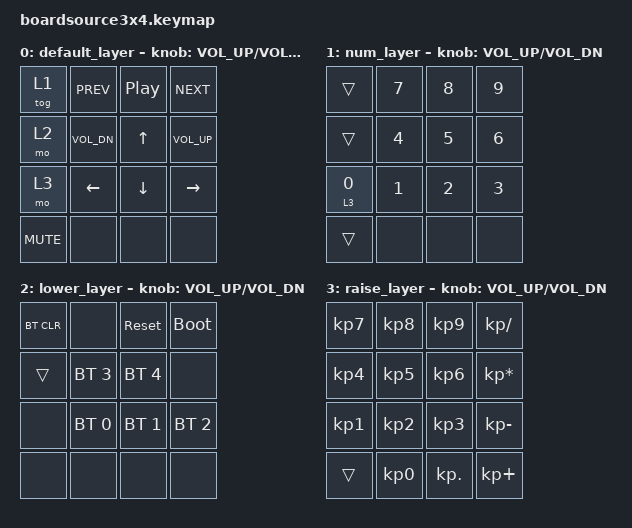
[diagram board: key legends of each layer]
/*
 * Copyright (c) 2020 The ZMK Contributors
 *
 * SPDX-License-Identifier: MIT
 */

#include <behaviors.dtsi>
#include <dt-bindings/zmk/keys.h>
#include <dt-bindings/zmk/bt.h>

/ {
    chosen {
        zmk,matrix-transform = &default_transform;
    };

    default_transform: keymap_transform_0 {
        compatible = "zmk,matrix-transform";
        columns = <4>;
        rows = <4>;
        map = <
            RC(0,0) RC(0,1) RC(0,2) RC(0,3)
            RC(1,0) RC(1,1) RC(1,2) RC(1,3)
            RC(2,0) RC(2,1) RC(2,2) RC(2,3)
            RC(3,0) RC(3,1) RC(3,2) RC(3,3)
        >;
    };

    sensors {
        compatible = "zmk,keymap-sensors";
        sensors = <&encoder>;
        triggers-per-rotation = <20>;
    };

    keymap {
        compatible = "zmk,keymap";

        default_layer {
            bindings = <
                &tog 1    &kp C_PREV   &kp C_PP     &kp C_NEXT
                &mo 2     &kp C_VOL_DN &kp UP       &kp C_VOL_UP
                &mo 3     &kp LEFT     &kp DOWN     &kp RIGHT
                &kp C_MUTE &none        &none        &none
            >;
            sensor-bindings = <&inc_dec_kp C_VOL_UP C_VOL_DN>;
        };

        num_layer {
            bindings = <
                &trans    &kp N7       &kp N8       &kp N9
                &trans    &kp N4       &kp N5       &kp N6
                &lt 3 N0  &kp N1       &kp N2       &kp N3
                &trans    &none        &none        &none
            >;
            sensor-bindings = <&inc_dec_kp C_VOL_UP C_VOL_DN>;
        };

        lower_layer {
            bindings = <
                &bt BT_CLR &none        &sys_reset   &bootloader
                &trans     &bt BT_SEL 3 &bt BT_SEL 4 &none
                &none      &bt BT_SEL 0 &bt BT_SEL 1 &bt BT_SEL 2
                &none      &none        &none        &none
            >;
            sensor-bindings = <&inc_dec_kp C_VOL_UP C_VOL_DN>;
        };

        raise_layer {
            bindings = <
                &kp KP_N7  &kp KP_N8    &kp KP_N9    &kp KP_DIVIDE
                &kp KP_N4  &kp KP_N5    &kp KP_N6    &kp KP_MULTIPLY
                &kp KP_N1  &kp KP_N2    &kp KP_N3    &kp KP_MINUS
                &trans     &kp KP_N0    &kp KP_DOT   &kp KP_PLUS
            >;
            sensor-bindings = <&inc_dec_kp C_VOL_UP C_VOL_DN>;
        };
    };
};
